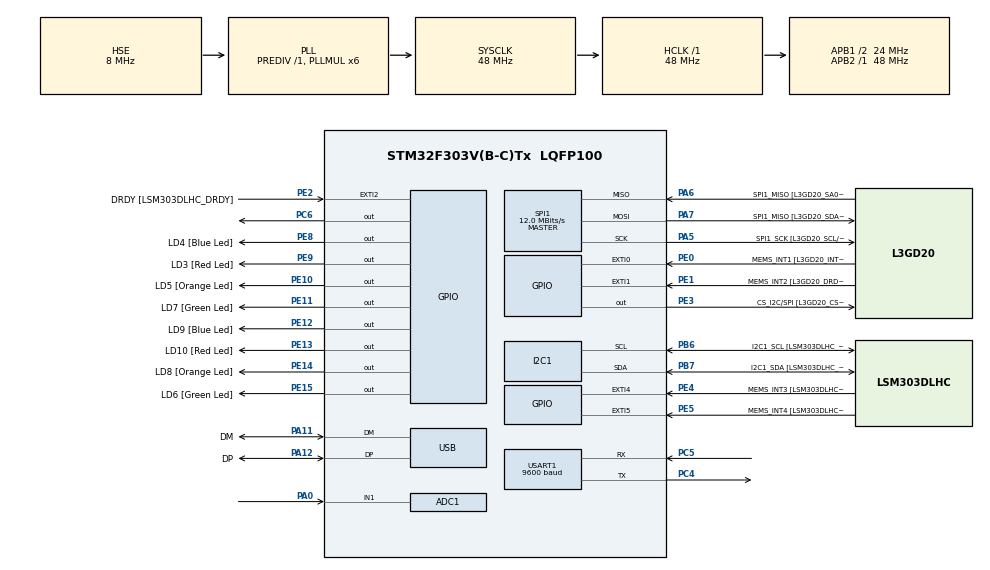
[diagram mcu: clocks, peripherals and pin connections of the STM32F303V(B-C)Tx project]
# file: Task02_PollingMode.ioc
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ADC1.Channel-0\#ChannelRegularConversion=ADC_CHANNEL_1
ADC1.ContinuousConvMode=ENABLE
ADC1.ExternalTrigConv=ADC_SOFTWARE_START
ADC1.NbrOfConversionFlag=1
ADC1.Offset-0\#ChannelRegularConversion=0
ADC1.OffsetNumber-0\#ChannelRegularConversion=ADC_OFFSET_NONE
ADC1.Rank-0\#ChannelRegularConversion=1
ADC1.SamplingTime-0\#ChannelRegularConversion=ADC_SAMPLETIME_19CYCLES_5
ADC1.master=1
I2C1.Timing=0x2000090E
I2C1.Timing-I2C=0x2000090E
Mcu.Family=STM32F3
Mcu.Name=STM32F303V(B-C)Tx
Mcu.Package=LQFP100
NVIC.PriorityGroup=NVIC_PRIORITYGROUP_0
NVIC.USB_LP_CAN_RX0_IRQn=true\:0\:0\:false\:false\:true\:false\:true\:true
PA0.Mode=IN1-Single-Ended
PA0.Signal=ADC1_IN1
PA11.GPIO_Label=DM
PA11.Mode=Device
PA11.Signal=USB_DM
PA12.GPIO_Label=DP
PA12.Mode=Device
PA12.Signal=USB_DP
PA13.GPIO_Label=SWDIO
PA13.Mode=Serial_Wire
PA13.Signal=SYS_JTMS-SWDIO
PA14.GPIO_Label=SWCLK
PA14.Mode=Serial_Wire
PA14.Signal=SYS_JTCK-SWCLK
PA5.GPIO_Label=SPI1_SCK [L3GD20_SCL/SPC]
PA5.Mode=Full_Duplex_Master
PA5.Signal=SPI1_SCK
PA6.GPIO_Label=SPI1_MISO [L3GD20_SA0/SDO]
PA6.Mode=Full_Duplex_Master
PA6.Signal=SPI1_MISO
PA7.GPIO_Label=SPI1_MISO [L3GD20_SDA/SDI/SDO]
PA7.Mode=Full_Duplex_Master
PA7.Signal=SPI1_MOSI
PB3.GPIO_Label=SWO
PB3.Signal=SYS_JTDO-TRACESWO
PB6.GPIO_Label=I2C1_SCL [LSM303DLHC_SCL]
PB6.GPIO_Pu=GPIO_PULLUP
PB6.Mode=I2C
PB6.Signal=I2C1_SCL
PB7.GPIO_Label=I2C1_SDA [LSM303DLHC_SDA]
PB7.GPIO_Pu=GPIO_PULLUP
PB7.Mode=I2C
PB7.Signal=I2C1_SDA
PC14-OSC32_IN.GPIO_Label=OSC32_IN
PC14-OSC32_IN.Signal=RCC_OSC32_IN
PC15-OSC32_OUT.GPIO_Label=OSC32_OUT
PC15-OSC32_OUT.Signal=RCC_OSC32_OUT
PC4.Mode=Asynchronous
PC4.Signal=USART1_TX
PC5.Mode=Asynchronous
PC5.Signal=USART1_RX
PC6.Signal=GPIO_Output
PE0.GPIO_Label=MEMS_INT1 [L3GD20_INT1]
PE0.GPIO_ModeDefaultEXTI=GPIO_MODE_EVT_RISING
PE0.Signal=GPXTI0
PE1.GPIO_Label=MEMS_INT2 [L3GD20_DRDY/INT2]
PE1.GPIO_ModeDefaultEXTI=GPIO_MODE_EVT_RISING
PE1.Signal=GPXTI1
PE10.GPIO_Label=LD5 [Orange Led]
PE10.Signal=GPIO_Output
PE11.GPIO_Label=LD7 [Green Led]
PE11.Signal=GPIO_Output
PE12.GPIO_Label=LD9 [Blue Led]
PE12.Signal=GPIO_Output
PE13.GPIO_Label=LD10 [Red Led]
PE13.Signal=GPIO_Output
PE14.GPIO_Label=LD8 [Orange Led]
PE14.Signal=GPIO_Output
PE15.GPIO_Label=LD6 [Green Led]
PE15.Signal=GPIO_Output
PE2.GPIO_Label=DRDY [LSM303DLHC_DRDY]
PE2.GPIO_ModeDefaultEXTI=GPIO_MODE_EVT_RISING
PE2.Signal=GPXTI2
PE3.GPIO_Label=CS_I2C/SPI [L3GD20_CS_I2C/SPI]
PE3.Signal=GPIO_Output
PE4.GPIO_Label=MEMS_INT3 [LSM303DLHC_INT1]
PE4.GPIO_ModeDefaultEXTI=GPIO_MODE_EVT_RISING
PE4.Signal=GPXTI4
PE5.GPIO_Label=MEMS_INT4 [LSM303DLHC_INT2]
PE5.GPIO_ModeDefaultEXTI=GPIO_MODE_EVT_RISING
PE5.Signal=GPXTI5
PE8.GPIO_Label=LD4 [Blue Led]
PE8.Signal=GPIO_Output
PE9.GPIO_Label=LD3 [Red Led]
PE9.Signal=GPIO_Output
PF0-OSC_IN.GPIO_Label=OSC_IN
PF0-OSC_IN.Mode=HSE-External-Clock-Source
PF0-OSC_IN.Signal=RCC_OSC_IN
PF1-OSC_OUT.GPIO_Label=OSC_OUT
PF1-OSC_OUT.Signal=RCC_OSC_OUT
ProjectManager.HeapSize=0x200
ProjectManager.StackSize=0x400
ProjectManager.TargetToolchain=CMake
RCC.AHBFreq_Value=48000000
RCC.APB1CLKDivider=RCC_HCLK_DIV2
RCC.APB1Freq_Value=24000000
RCC.APB1TimFreq_Value=48000000
RCC.APB2Freq_Value=48000000
RCC.APB2TimFreq_Value=48000000
RCC.CortexFreq_Value=48000000
RCC.HCLKFreq_Value=48000000
RCC.HSE_VALUE=8000000
RCC.HSI_VALUE=8000000
RCC.LSE_VALUE=32768
RCC.PLLMUL=RCC_PLL_MUL6
RCC.SYSCLKFreq_VALUE=48000000
RCC.SYSCLKSourceVirtual=RCC_SYSCLKSOURCE_PLLCLK
RCC.USBFreq_Value=48000000
SPI1.BaudRatePrescaler=SPI_BAUDRATEPRESCALER_4
SPI1.BaudRatePrescaler-Full_Duplex_Master=SPI_BAUDRATEPRESCALER_2
SPI1.CalculateBaudRate=12.0 MBits/s
SPI1.CalculateBaudRate-Full_Duplex_Master=24.0 MBits/s
SPI1.Direction=SPI_DIRECTION_2LINES
SPI1.Mode=SPI_MODE_MASTER
SPI1.Mode-Full_Duplex_Master=SPI_MODE_MASTER
SPI1.VirtualType=VM_MASTER
STMicroelectronics.X-CUBE-ALGOBUILD.1.4.0.LibraryCcDSPOoLibraryJjDSPOoLibrary=true
USART1.BaudRate=9600
USART1.VirtualMode-Asynchronous=VM_ASYNC
USB_DEVICE.CLASS_NAME_FS=CDC
USB_DEVICE.VirtualMode=Cdc
USB_DEVICE.VirtualModeFS=Cdc_FS
VP_STMicroelectronics.X-CUBE-ALGOBUILD_VS_DSPOoLibraryJjLibrary_1.4.0_1.4.0.Mode=DSPOoLibraryJjLibrary
VP_USB_DEVICE_VS_USB_DEVICE_CDC_FS.Mode=CDC_FS
board=STM32F3DISCOVERY

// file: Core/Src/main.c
/* USER CODE BEGIN Header */
/**
  ******************************************************************************
  * @file           : main.c
  * @brief          : Main program body
  ******************************************************************************
  * @attention
  *
  * Copyright (c) 2025 STMicroelectronics.
  * All rights reserved.
  *
  * This software is licensed under terms that can be found in the LICENSE file
  * in the root directory of this software component.
  * If no LICENSE file comes with this software, it is provided AS-IS.
  *
  ******************************************************************************
  */
/* USER CODE END Header */
#include "main.h"
#include "usb_device.h"

/* USER CODE BEGIN Includes */
#include "arm_math.h"
/* USER CODE END Includes */

ADC_HandleTypeDef hadc1;

I2C_HandleTypeDef hi2c1;

SPI_HandleTypeDef hspi1;

UART_HandleTypeDef huart1;

/* USER CODE BEGIN PV */

#define NUM_TAPS 29
#define BLOCK_SIZE 1  // Real-time: one sample at a time

// Filter state
float32_t firStateF32[NUM_TAPS + BLOCK_SIZE - 1];
const float32_t firCoeffs32[NUM_TAPS] = {
  -0.0018225230f, -0.0015879294f, +0.0000000000f, +0.0036977508f, +0.0080754303f,
  +0.0085302217f, -0.0000000000f, -0.0173976984f, -0.0341458607f, -0.0333591565f,
  +0.0000000000f, +0.0676308395f, +0.1522061835f, +0.2229246956f, +0.2504960933f,
  +0.2229246956f, +0.1522061835f, +0.0676308395f, +0.0000000000f, -0.0333591565f,
  -0.0341458607f, -0.0173976984f, -0.0000000000f, +0.0085302217f, +0.0080754303f,
  +0.0036977508f, +0.0000000000f, -0.0015879294f, -0.0018225230f
};

arm_fir_instance_f32 S;

// Buffers for real-time input/output
float32_t inputF32, outputF32;

/* USER CODE END PV */

void SystemClock_Config(void);
static void MX_GPIO_Init(void);
static void MX_ADC1_Init(void);
static void MX_I2C1_Init(void);
static void MX_SPI1_Init(void);
static void MX_USART1_UART_Init(void);

/* USER CODE BEGIN 0 */

#include <stdint.h>

uint32_t mean(const uint32_t* data) {

    uint32_t sum = 0;
    for (uint32_t i = 0; i < 10; ++i) {
        sum += data[i];
    }
    return sum / 1000;  // Integer division (truncates toward zero)

}

/* USER CODE END 0 */

int main(void)
{

  /* MCU Configuration--------------------------------------------------------*/

  /* Reset of all peripherals, Initializes the Flash interface and the Systick. */
  HAL_Init();

  /* Configure the system clock */
  SystemClock_Config();

  /* Initialize all configured peripherals */
  MX_GPIO_Init();
  MX_ADC1_Init();
  MX_I2C1_Init();
  MX_SPI1_Init();
  MX_USART1_UART_Init();
  MX_USB_DEVICE_Init();
  /* USER CODE BEGIN 2 */

  HAL_ADCEx_Calibration_Start(&hadc1, ADC_SINGLE_ENDED);

  // FIR Filter Init
  arm_fir_init_f32(&S, NUM_TAPS, (float32_t *)firCoeffs32, firStateF32, BLOCK_SIZE);

  uint32_t adc_value;
  char msg[64];

  /* USER CODE END 2 */

  /* Infinite loop */
  /* USER CODE BEGIN WHILE */
  while (1)
  {
    HAL_ADC_Start(&hadc1);
    HAL_ADC_PollForConversion(&hadc1, HAL_MAX_DELAY);  // Wait for conversion
    uint32_t adc_value = HAL_ADC_GetValue(&hadc1);     // Read ADC value

    // Convert ADC value (0-4095) to float32 in range 0.0 - 1.0 (or voltage range)
    inputF32 = (float32_t)adc_value / 4095.0f;

    // Apply FIR filter
    arm_fir_f32(&S, &inputF32, &outputF32, BLOCK_SIZE);

    // (Optional) Convert back to integer if needed for PWM or DAC
    uint32_t filtered_adc_int = (uint32_t)(outputF32 * 4095.0f);

    // UART Print for debugging
    snprintf(msg, sizeof(msg), "%lu, %lu\r\n", adc_value, filtered_adc_int);
    HAL_UART_Transmit(&huart1, (uint8_t *)msg, strlen(msg), HAL_MAX_DELAY);

    // HAL_Delay(1);
    // HAL_GPIO_TogglePin(GPIOC, GPIO_PIN_6);

  }
    /* USER CODE END WHILE */

}

void SystemClock_Config(void)
{
  RCC_OscInitTypeDef RCC_OscInitStruct = {0};
  RCC_ClkInitTypeDef RCC_ClkInitStruct = {0};
  RCC_PeriphCLKInitTypeDef PeriphClkInit = {0};

  /** Initializes the RCC Oscillators according to the specified parameters
  * in the RCC_OscInitTypeDef structure.
  */
  RCC_OscInitStruct.OscillatorType = RCC_OSCILLATORTYPE_HSI|RCC_OSCILLATORTYPE_HSE;
  RCC_OscInitStruct.HSEState = RCC_HSE_BYPASS;
  RCC_OscInitStruct.HSEPredivValue = RCC_HSE_PREDIV_DIV1;
  RCC_OscInitStruct.HSIState = RCC_HSI_ON;
  RCC_OscInitStruct.HSICalibrationValue = RCC_HSICALIBRATION_DEFAULT;
  RCC_OscInitStruct.PLL.PLLState = RCC_PLL_ON;
  RCC_OscInitStruct.PLL.PLLSource = RCC_PLLSOURCE_HSE;
  RCC_OscInitStruct.PLL.PLLMUL = RCC_PLL_MUL6;
  if (HAL_RCC_OscConfig(&RCC_OscInitStruct) != HAL_OK)
  {
    Error_Handler();
  }

  /** Initializes the CPU, AHB and APB buses clocks
  */
  RCC_ClkInitStruct.ClockType = RCC_CLOCKTYPE_HCLK|RCC_CLOCKTYPE_SYSCLK
                              |RCC_CLOCKTYPE_PCLK1|RCC_CLOCKTYPE_PCLK2;
  RCC_ClkInitStruct.SYSCLKSource = RCC_SYSCLKSOURCE_PLLCLK;
  RCC_ClkInitStruct.AHBCLKDivider = RCC_SYSCLK_DIV1;
  RCC_ClkInitStruct.APB1CLKDivider = RCC_HCLK_DIV2;
  RCC_ClkInitStruct.APB2CLKDivider = RCC_HCLK_DIV1;

  if (HAL_RCC_ClockConfig(&RCC_ClkInitStruct, FLASH_LATENCY_1) != HAL_OK)
  {
    Error_Handler();
  }
  PeriphClkInit.PeriphClockSelection = RCC_PERIPHCLK_USB|RCC_PERIPHCLK_USART1
                              |RCC_PERIPHCLK_I2C1|RCC_PERIPHCLK_ADC12;
  PeriphClkInit.Usart1ClockSelection = RCC_USART1CLKSOURCE_PCLK2;
  PeriphClkInit.Adc12ClockSelection = RCC_ADC12PLLCLK_DIV1;
  PeriphClkInit.I2c1ClockSelection = RCC_I2C1CLKSOURCE_HSI;
  PeriphClkInit.USBClockSelection = RCC_USBCLKSOURCE_PLL;
  if (HAL_RCCEx_PeriphCLKConfig(&PeriphClkInit) != HAL_OK)
  {
    Error_Handler();
  }
}

static void MX_ADC1_Init(void)
{

  ADC_MultiModeTypeDef multimode = {0};
  ADC_ChannelConfTypeDef sConfig = {0};

  /** Common config
  */
  hadc1.Instance = ADC1;
  hadc1.Init.ClockPrescaler = ADC_CLOCK_ASYNC_DIV1;
  hadc1.Init.Resolution = ADC_RESOLUTION_12B;
  hadc1.Init.ScanConvMode = ADC_SCAN_DISABLE;
  hadc1.Init.ContinuousConvMode = ENABLE;
  hadc1.Init.DiscontinuousConvMode = DISABLE;
  hadc1.Init.ExternalTrigConvEdge = ADC_EXTERNALTRIGCONVEDGE_NONE;
  hadc1.Init.ExternalTrigConv = ADC_SOFTWARE_START;
  hadc1.Init.DataAlign = ADC_DATAALIGN_RIGHT;
  hadc1.Init.NbrOfConversion = 1;
  hadc1.Init.DMAContinuousRequests = DISABLE;
  hadc1.Init.EOCSelection = ADC_EOC_SINGLE_CONV;
  hadc1.Init.LowPowerAutoWait = DISABLE;
  hadc1.Init.Overrun = ADC_OVR_DATA_OVERWRITTEN;
  if (HAL_ADC_Init(&hadc1) != HAL_OK)
  {
    Error_Handler();
  }

  /** Configure the ADC multi-mode
  */
  multimode.Mode = ADC_MODE_INDEPENDENT;
  if (HAL_ADCEx_MultiModeConfigChannel(&hadc1, &multimode) != HAL_OK)
  {
    Error_Handler();
  }

  /** Configure Regular Channel
  */
  sConfig.Channel = ADC_CHANNEL_1;
  sConfig.Rank = ADC_REGULAR_RANK_1;
  sConfig.SingleDiff = ADC_SINGLE_ENDED;
  sConfig.SamplingTime = ADC_SAMPLETIME_19CYCLES_5;
  sConfig.OffsetNumber = ADC_OFFSET_NONE;
  sConfig.Offset = 0;
  if (HAL_ADC_ConfigChannel(&hadc1, &sConfig) != HAL_OK)
  {
    Error_Handler();
  }

}

static void MX_I2C1_Init(void)
{

  hi2c1.Instance = I2C1;
  hi2c1.Init.Timing = 0x2000090E;
  hi2c1.Init.OwnAddress1 = 0;
  hi2c1.Init.AddressingMode = I2C_ADDRESSINGMODE_7BIT;
  hi2c1.Init.DualAddressMode = I2C_DUALADDRESS_DISABLE;
  hi2c1.Init.OwnAddress2 = 0;
  hi2c1.Init.OwnAddress2Masks = I2C_OA2_NOMASK;
  hi2c1.Init.GeneralCallMode = I2C_GENERALCALL_DISABLE;
  hi2c1.Init.NoStretchMode = I2C_NOSTRETCH_DISABLE;
  if (HAL_I2C_Init(&hi2c1) != HAL_OK)
  {
    Error_Handler();
  }

  /** Configure Analogue filter
  */
  if (HAL_I2CEx_ConfigAnalogFilter(&hi2c1, I2C_ANALOGFILTER_ENABLE) != HAL_OK)
  {
    Error_Handler();
  }

  /** Configure Digital filter
  */
  if (HAL_I2CEx_ConfigDigitalFilter(&hi2c1, 0) != HAL_OK)
  {
    Error_Handler();
  }

}

static void MX_SPI1_Init(void)
{

  /* SPI1 parameter configuration*/
  hspi1.Instance = SPI1;
  hspi1.Init.Mode = SPI_MODE_MASTER;
  hspi1.Init.Direction = SPI_DIRECTION_2LINES;
  hspi1.Init.DataSize = SPI_DATASIZE_4BIT;
  hspi1.Init.CLKPolarity = SPI_POLARITY_LOW;
  hspi1.Init.CLKPhase = SPI_PHASE_1EDGE;
  hspi1.Init.NSS = SPI_NSS_SOFT;
  hspi1.Init.BaudRatePrescaler = SPI_BAUDRATEPRESCALER_4;
  hspi1.Init.FirstBit = SPI_FIRSTBIT_MSB;
  hspi1.Init.TIMode = SPI_TIMODE_DISABLE;
  hspi1.Init.CRCCalculation = SPI_CRCCALCULATION_DISABLE;
  hspi1.Init.CRCPolynomial = 7;
  hspi1.Init.CRCLength = SPI_CRC_LENGTH_DATASIZE;
  hspi1.Init.NSSPMode = SPI_NSS_PULSE_ENABLE;
  if (HAL_SPI_Init(&hspi1) != HAL_OK)
  {
    Error_Handler();
  }

}

static void MX_USART1_UART_Init(void)
{

  huart1.Instance = USART1;
  huart1.Init.BaudRate = 115200;
  huart1.Init.WordLength = UART_WORDLENGTH_8B;
  huart1.Init.StopBits = UART_STOPBITS_1;
  huart1.Init.Parity = UART_PARITY_NONE;
  huart1.Init.Mode = UART_MODE_TX_RX;
  huart1.Init.HwFlowCtl = UART_HWCONTROL_NONE;
  huart1.Init.OverSampling = UART_OVERSAMPLING_16;
  huart1.Init.OneBitSampling = UART_ONE_BIT_SAMPLE_DISABLE;
  huart1.AdvancedInit.AdvFeatureInit = UART_ADVFEATURE_NO_INIT;
  if (HAL_UART_Init(&huart1) != HAL_OK)
  {
    Error_Handler();
  }

}

static void MX_GPIO_Init(void)
{
  GPIO_InitTypeDef GPIO_InitStruct = {0};

  /* GPIO Ports Clock Enable */
  __HAL_RCC_GPIOE_CLK_ENABLE();
  __HAL_RCC_GPIOC_CLK_ENABLE();
  __HAL_RCC_GPIOF_CLK_ENABLE();
  __HAL_RCC_GPIOA_CLK_ENABLE();
  __HAL_RCC_GPIOB_CLK_ENABLE();

  /*Configure GPIO pin Output Level */
  HAL_GPIO_WritePin(GPIOE, CS_I2C_SPI_Pin|LD4_Pin|LD3_Pin|LD5_Pin
                          |LD7_Pin|LD9_Pin|LD10_Pin|LD8_Pin
                          |LD6_Pin, GPIO_PIN_RESET);

  /*Configure GPIO pin Output Level */
  HAL_GPIO_WritePin(GPIOC, GPIO_PIN_6, GPIO_PIN_RESET);

  /*Configure GPIO pins : DRDY_Pin MEMS_INT3_Pin MEMS_INT4_Pin MEMS_INT1_Pin
                           MEMS_INT2_Pin */
  GPIO_InitStruct.Pin = DRDY_Pin|MEMS_INT3_Pin|MEMS_INT4_Pin|MEMS_INT1_Pin
                          |MEMS_INT2_Pin;
  GPIO_InitStruct.Mode = GPIO_MODE_EVT_RISING;
  GPIO_InitStruct.Pull = GPIO_NOPULL;
  HAL_GPIO_Init(GPIOE, &GPIO_InitStruct);

  /*Configure GPIO pins : CS_I2C_SPI_Pin LD4_Pin LD3_Pin LD5_Pin
                           LD7_Pin LD9_Pin LD10_Pin LD8_Pin
                           LD6_Pin */
  GPIO_InitStruct.Pin = CS_I2C_SPI_Pin|LD4_Pin|LD3_Pin|LD5_Pin
                          |LD7_Pin|LD9_Pin|LD10_Pin|LD8_Pin
                          |LD6_Pin;
  GPIO_InitStruct.Mode = GPIO_MODE_OUTPUT_PP;
  GPIO_InitStruct.Pull = GPIO_NOPULL;
  GPIO_InitStruct.Speed = GPIO_SPEED_FREQ_LOW;
  HAL_GPIO_Init(GPIOE, &GPIO_InitStruct);

  /*Configure GPIO pin : PC6 */
  GPIO_InitStruct.Pin = GPIO_PIN_6;
  GPIO_InitStruct.Mode = GPIO_MODE_OUTPUT_PP;
  GPIO_InitStruct.Pull = GPIO_NOPULL;
  GPIO_InitStruct.Speed = GPIO_SPEED_FREQ_LOW;
  HAL_GPIO_Init(GPIOC, &GPIO_InitStruct);

}

void Error_Handler(void)
{
  __disable_irq();
  while (1)
  {
  }
}
